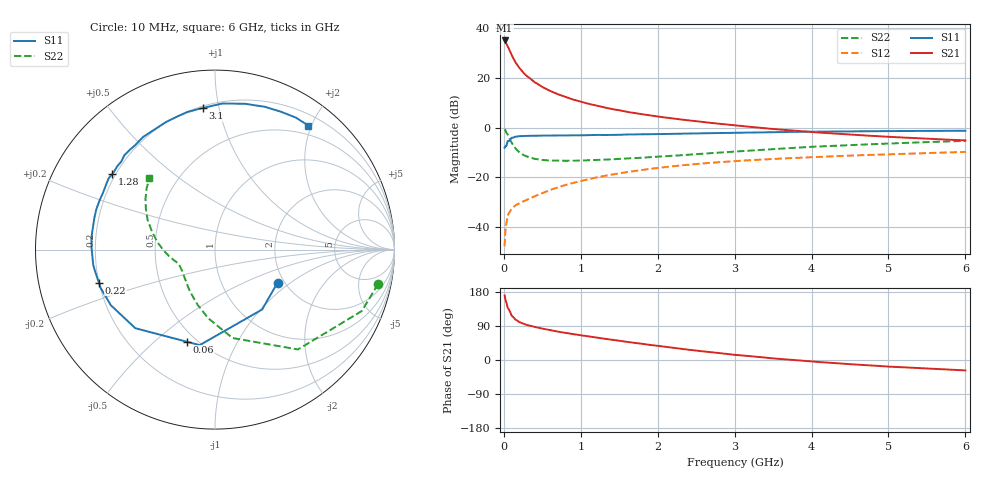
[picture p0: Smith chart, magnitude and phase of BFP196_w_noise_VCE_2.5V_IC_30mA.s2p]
! Infineon Technologies  Discrete & RF Semiconductors
! BFP196
! VCE = 2.5 V,  IC =  30mA
! Common Emitter S-Parameters:  Jan 2016
# GHz  S  MA  R  50
!  f  S11  S21  S12  S22
! GHz  MAG  ANG  MAG  ANG  MAG  ANG  MAG  ANG
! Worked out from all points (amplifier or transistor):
!   210 points, 10 MHz to 6 GHz, reference 50 ohm
!   highest |S21| = 34.9 dB at 10 MHz (marker M1)
!   |S21| within 3 dB of that: start of sweep to 60.72 MHz
!   unconditionally stable (mu >= 1): 550.8 MHz to 3.992 GHz; 4.02 GHz to 4.305 GHz
!   at 185 MHz: K = 0.59, MSG = 27.7 dB, |S12| = -30.6 dB
!   at 1.52 GHz: K = 1.10, MAG = 10.6 dB, |S12| = -18.2 dB
!   at 6 GHz: K = 0.97, MSG = 2.3 dB, |S12| = -9.8 dB
!   lowest NFmin = 1.40 dB at 500 MHz
!   S11 on the Smith chart (normalised r, x): 10 MHz: 1.84, -0.80; 60 MHz: 0.44, -0.64; 220 MHz: 0.20, -0.13; 1.28 GHz: 0.19, +0.32; 3.1 GHz: 0.21, +0.90; 6 GHz: 0.36, +1.95
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0.01  0.3942 -27.8  55.81 170.4  0.0042 79.9  0.9285 -11.9
0.02  0.4246 -51.8  53.24 160.0  0.0084 73.9  0.8867 -22.7
0.05  0.539 -99.1  42.93 138.0  0.0173 57.0  0.7233 -50.3
0.06  0.5368 -107.0  39.74 135.1  0.0185 54.5  0.6686 -54.4
0.1  0.6237 -135.4  28.53 117.4  0.0235 47.0  0.502 -78.8
0.15  0.6578 -151.9  20.43 106.7  0.0275 43.9  0.3847 -95.6
0.2  0.672 -161.4  15.82 100.1  0.0302 45.2  0.3228 -107.4
0.22  0.6729 -164.1  14.58 98.5  0.0313 45.8  0.3066 -110.8
0.26  0.6779 -169.0  12.35 95.0  0.0335 47.3  0.2801 -118.0
0.3  0.6839 -172.8  10.74 92.3  0.0357 49.3  0.2634 -123.5
0.4  0.6873 179.6  8.144 87.1  0.042 52.4  0.237 -134.1
0.5  0.692 174.6  6.524 82.8  0.0483 55.1  0.2243 -141.2
0.6  0.6917 169.4  5.45 78.7  0.056 56.1  0.219 -146.1
0.7  0.6952 164.9  4.683 74.7  0.063 57.4  0.2174 -149.9
0.9  0.6991 157.1  3.651 68.3  0.0778 57.5  0.2164 -155.7
1.02  0.7006 152.5  3.237 64.6  0.0865 57.3  0.2189 -158.0
1.28  0.7104 143.7  2.59 56.8  0.1057 55.3  0.2268 -162.5
2.02  0.7446 121.8  1.651 36.9  0.1567 47.0  0.2624 -173.3
3.1  0.7919 94.8  1.07 12.0  0.2178 32.4  0.3376 169.3
4.1  0.831 76.8  0.794 -5.4  0.2593 20.1  0.4186 154.5
5.1  0.8529 63.3  0.642 -18.3  0.2952 9.0  0.4854 142.7
6  0.8647 53.0  0.554 -27.5  0.3252 -1.1  0.5413 132.4
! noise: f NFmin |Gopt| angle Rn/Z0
0.5  1.4  0.4  -173  0.08
0.9  1.6  0.5  -166  0.08
1.5  2.4  0.61  -150  0.14
2  2.9  0.71  -129  0.2
